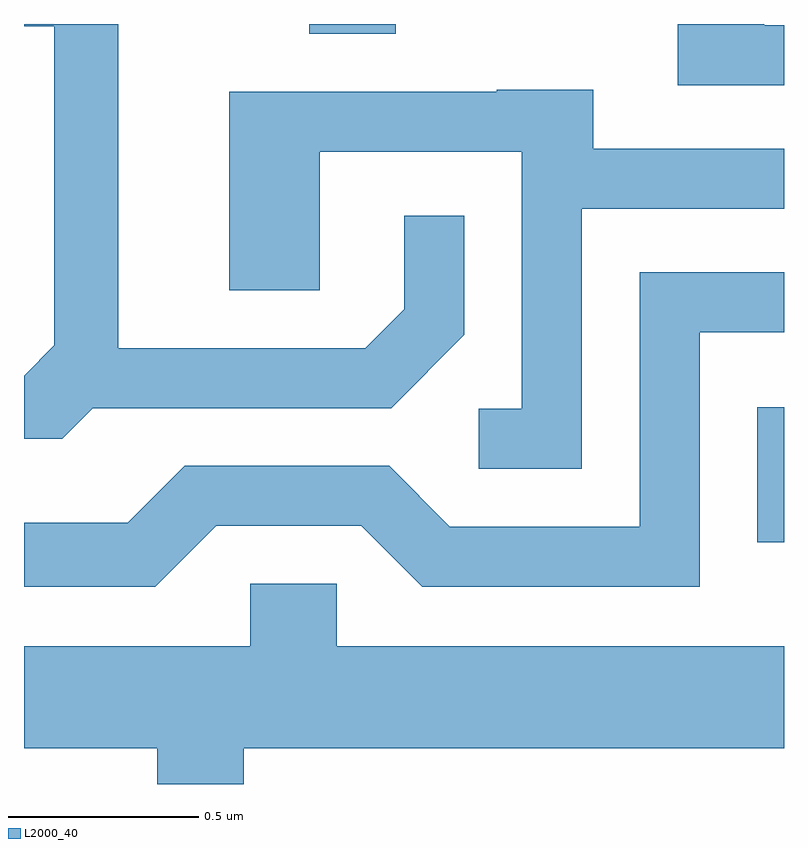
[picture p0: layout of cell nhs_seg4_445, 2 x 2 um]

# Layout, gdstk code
import gdstk
lib = gdstk.Library(unit=1e-6, precision=1e-09)
def R(c, l, rs):  # rectangles x0, y0, x1, y1
    for r in rs: c.add(gdstk.rectangle(r[:2], r[2:], *l))
def P(c, l, *ps):  # polygons
    for p in ps: c.add(gdstk.Polygon(p, *l))
L2000_40 = (2000, 40)

nhs_seg4_445 = lib.new_cell('nhs_seg4_445')
R(nhs_seg4_445, L2000_40, [(190.541,1288.618,190.611,1288.974), (189.361,1289.956,189.589,1289.982)])
P(nhs_seg4_445, L2000_40, [(188.792,1288.971),(189.577,1288.971),(189.769,1289.164),(189.769,1289.478),(189.611,1289.478),(189.611,1289.232),(189.509,1289.129),(188.859,1289.129),(188.859,1289.982),(188.611,1289.982),(188.611,1289.976),(188.691,1289.976),(188.691,1289.137),(188.611,1289.056),(188.611,1288.891),(188.712,1288.891)],
  [(190.611,1289.979),(190.559,1289.979),(190.559,1289.982),(189.963,1289.982),(189.963,1289.981),(190.331,1289.981),(190.331,1289.821),(190.611,1289.821)],
  [(190.079,1289.496),(190.611,1289.496),(190.611,1289.654),(190.109,1289.654),(190.109,1289.809),(189.855,1289.809),(189.855,1289.804),(189.151,1289.804),(189.151,1289.281),(189.389,1289.281),(189.389,1289.646),(189.921,1289.646),(189.921,1288.969),(189.808,1288.969),(189.808,1288.811),(190.079,1288.811)],
  [(189.117,1288.661),(189.499,1288.661),(189.659,1288.501),(190.389,1288.501),(190.389,1289.171),(190.611,1289.171),(190.611,1289.329),(190.231,1289.329),(190.231,1288.659),(189.732,1288.659),(189.572,1288.819),(189.034,1288.819),(188.884,1288.669),(188.611,1288.669),(188.611,1288.501),(188.957,1288.501)],
  [(189.189,1288.076),(190.611,1288.076),(190.611,1288.344),(189.434,1288.344),(189.434,1288.509),(189.206,1288.509),(189.206,1288.344),(188.611,1288.344),(188.611,1288.076),(188.961,1288.076),(188.961,1287.982),(189.189,1287.982)])

lib.write_gds('nhs_seg4_445.gds')
